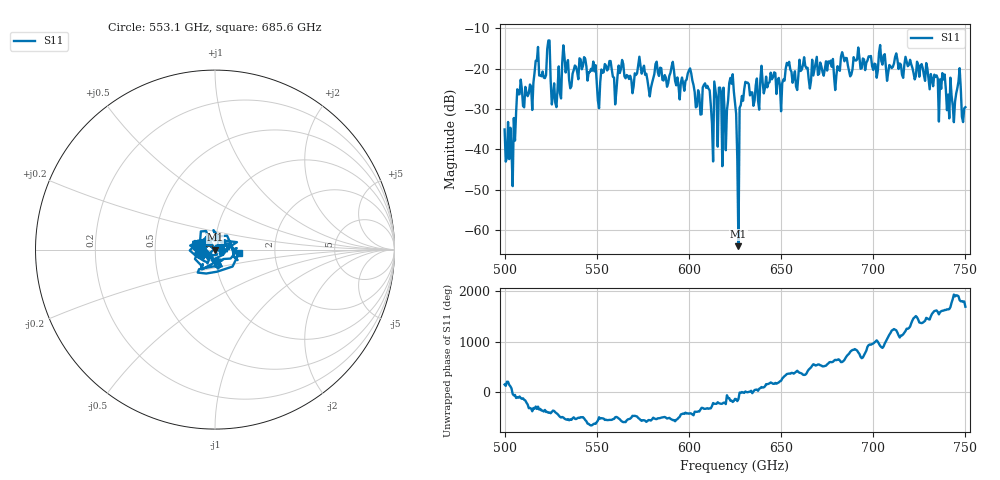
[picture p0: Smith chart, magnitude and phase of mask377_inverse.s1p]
!Created with skrf (http://scikit-rf.org).
# GHz S MA R 50.0
!freq magS11 angS11
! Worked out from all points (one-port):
!   401 points, 500 GHz to 750 GHz, reference 50 ohm
!   lowest |S11| = -64.0 dB at 626.9 GHz (marker M1), VSWR 1.00, Z = 49.9 - j0.0356 ohm
!   |S11| at or under -10 dB: start of sweep to end of sweep
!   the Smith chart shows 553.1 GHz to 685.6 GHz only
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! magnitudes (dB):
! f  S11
! 500 GHz  -35.1
! 503.8 GHz  -40.5
! 508.1 GHz  -26.3
! 513.8 GHz  -23.9
! 517.5 GHz  -18.0
! 523.8 GHz  -13.0
! 526.9 GHz  -23.6
! 531.2 GHz  -18.5
! 542.5 GHz  -19.3
! 551.2 GHz  -29.8
! 562.5 GHz  -21.1
! 593.8 GHz  -22.2
! 600.6 GHz  -19.9
! 605.6 GHz  -26.5
! 609.4 GHz  -24.8
! 619.4 GHz  -30.8
! 623.1 GHz  -23.7
! 625 GHz  -28.4
! 625.6 GHz  -31.2
! 626.9 GHz  -64.0
! 628.8 GHz  -26.8
! 631.2 GHz  -23.5
! 656.2 GHz  -23.5
! 687.5 GHz  -21.9
! 718.8 GHz  -19.4
! 742.5 GHz  -26.7
! 746.2 GHz  -23.2
! 750 GHz  -29.5
